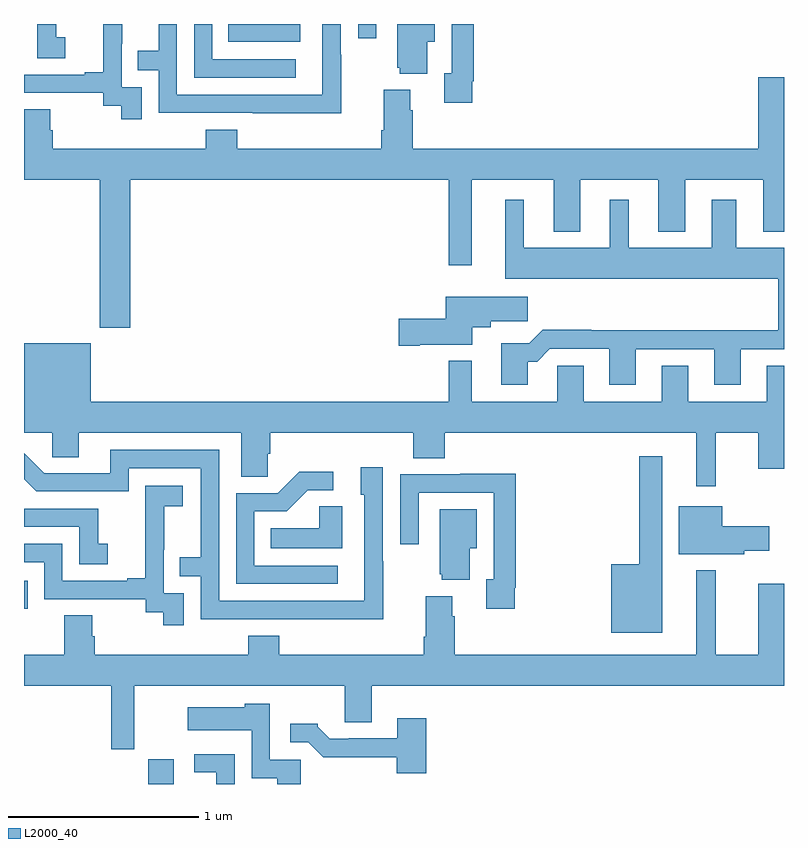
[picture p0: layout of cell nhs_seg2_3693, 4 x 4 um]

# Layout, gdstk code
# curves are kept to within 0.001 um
import gdstk
lib = gdstk.Library(unit=1e-6, precision=1e-09)
def R(c, l, rs):  # rectangles x0, y0, x1, y1
    for r in rs: c.add(gdstk.rectangle(r[:2], r[2:], *l))
def P(c, l, *ps):  # polygons
    for p in ps: c.add(gdstk.Polygon(p, *l))
L2000_40 = (2000, 40)

nhs_seg2_3693 = lib.new_cell('nhs_seg2_3693')
R(nhs_seg2_3693, L2000_40, [(305.654,633.8,305.788,633.931), (305,634.722,305.021,634.869), (306.076,637.706,306.454,637.8), (306.759,637.725,306.855,637.8)])
P(nhs_seg2_3693, L2000_40, [(307.123,637.706),(307.162,637.706),(307.162,637.8),(306.965,637.8),(306.965,637.569),(306.977,637.569),(306.977,637.538),(307.123,637.538)],
  [(307.36,637.498),(307.367,637.498),(307.367,637.8),(307.251,637.8),(307.251,637.542),(307.211,637.542),(307.211,637.386),(307.36,637.386)],
  [(306.43,637.614),(305.991,637.614),(305.991,637.8),(305.895,637.8),(305.895,637.518),(306.43,637.518)],
  [(305.619,637.467),(305.514,637.467),(305.514,637.697),(305.516,637.697),(305.516,637.8),(305.417,637.8),(305.417,637.546),(305.321,637.546),(305.321,637.533),(305,637.533),(305,637.437),(305.418,637.437),(305.418,637.369),(305.511,637.369),(305.511,637.299),(305.619,637.299)],
  [(305.218,637.729),(305.169,637.729),(305.169,637.8),(305.07,637.8),(305.07,637.62),(305.218,637.62)],
  [(306.669,637.637),(306.666,637.637),(306.666,637.8),(306.57,637.8),(306.57,637.428),(305.805,637.428),(305.805,637.8),(305.709,637.8),(305.709,637.658),(305.599,637.658),(305.599,637.557),(305.709,637.557),(305.709,637.332),(306.205,637.332),(306.205,637.331),(306.669,637.331)],
  [(305.558,636.98),(307.236,636.98),(307.236,636.531),(307.357,636.531),(307.357,636.98),(307.787,636.98),(307.787,636.707),(307.927,636.707),(307.927,636.98),(308.339,636.98),(308.339,636.707),(308.479,636.707),(308.479,636.98),(308.891,636.98),(308.891,636.707),(309,636.707),(309,637.519),(308.864,637.519),(308.864,637.144),(307.046,637.144),(307.046,637.346),(307.033,637.346),(307.033,637.453),(306.893,637.453),(306.893,637.24),(306.881,637.24),(306.881,637.144),(306.122,637.144),(306.122,637.243),(305.957,637.243),(305.957,637.144),(305.15,637.144),(305.15,637.242),(305.137,637.242),(305.137,637.352),(305,637.352),(305,636.98),(305.398,636.98),(305.398,636.201),(305.558,636.201)],
  [(307.651,636.023),(307.7,636.023),(307.767,636.09),(308.081,636.09),(308.081,635.901),(308.221,635.901),(308.221,636.087),(308.633,636.087),(308.633,635.901),(308.773,635.901),(308.773,636.087),(309,636.087),(309,636.622),(308.749,636.622),(308.749,636.874),(308.621,636.874),(308.621,636.622),(308.182,636.622),(308.182,636.874),(308.084,636.874),(308.084,636.622),(307.63,636.622),(307.63,636.874),(307.532,636.874),(307.532,636.458),(308.969,636.458),(308.969,636.188),(307.985,636.188),(307.985,636.191),(307.73,636.191),(307.66,636.121),(307.511,636.121),(307.511,635.901),(307.651,635.901)],
  [(307.084,636.113),(307.36,636.113),(307.36,636.203),(307.456,636.203),(307.456,636.235),(307.651,636.235),(307.651,636.364),(307.22,636.364),(307.22,636.248),(306.972,636.248),(306.972,636.106),(307.084,636.106)],
  [(308.641,635.648),(308.864,635.648),(308.864,635.46),(309,635.46),(309,636.002),(308.909,636.002),(308.909,635.812),(308.497,635.812),(308.497,636.002),(308.357,636.002),(308.357,635.812),(307.945,635.812),(307.945,636.002),(307.806,636.002),(307.806,635.812),(307.357,635.812),(307.357,636.028),(307.236,636.028),(307.236,635.812),(305.35,635.812),(305.35,636.121),(305,636.121),(305,635.648),(305.148,635.648),(305.148,635.521),(305.287,635.521),(305.287,635.648),(306.143,635.648),(306.143,635.416),(306.282,635.416),(306.282,635.539),(306.296,635.539),(306.296,635.648),(307.049,635.648),(307.049,635.515),(307.214,635.515),(307.214,635.648),(308.537,635.648),(308.537,635.367),(308.641,635.367)],
  [(306.891,634.973),(306.888,634.973),(306.888,635.467),(306.773,635.467),(306.773,635.322),(306.792,635.322),(306.792,634.764),(306.027,634.764),(306.027,635.559),(305.453,635.559),(305.453,635.436),(305.106,635.436),(305,635.542),(305,635.404),(305.064,635.34),(305.55,635.34),(305.55,635.463),(305.931,635.463),(305.931,634.994),(305.821,634.994),(305.821,634.893),(305.931,634.893),(305.931,634.668),(306.891,634.667)],
  [(308.359,635.524),(308.238,635.524),(308.238,634.957),(308.09,634.957),(308.09,634.595),(308.359,634.595)],
  [(306.652,634.95),(306.213,634.95),(306.213,635.235),(306.382,635.235),(306.493,635.346),(306.628,635.346),(306.628,635.444),(306.449,635.444),(306.336,635.331),(306.117,635.331),(306.117,634.854),(306.652,634.854)],
  [(307.582,634.834),(307.589,634.834),(307.589,635.432),(307.297,635.432),(307.297,635.43),(306.981,635.43),(306.981,635.061),(307.077,635.061),(307.077,635.334),(307.473,635.334),(307.473,634.878),(307.433,634.878),(307.433,634.722),(307.582,634.722)],
  [(305.841,634.803),(305.736,634.803),(305.736,635.033),(305.738,635.033),(305.738,635.261),(305.836,635.261),(305.836,635.371),(305.638,635.371),(305.638,635.165),(305.639,635.165),(305.639,634.882),(305.543,634.882),(305.543,634.869),(305.202,634.869),(305.202,635.064),(305,635.064),(305,634.968),(305.106,634.968),(305.106,634.773),(305.64,634.773),(305.64,634.705),(305.733,634.705),(305.733,634.635),(305.841,634.635)],
  [(308.79,635.027),(308.923,635.027),(308.923,635.157),(308.674,635.157),(308.674,635.263),(308.447,635.263),(308.447,635.009),(308.79,635.009)],
  [(306.676,635.261),(306.555,635.261),(306.555,635.146),(306.298,635.146),(306.298,635.042),(306.676,635.042)],
  [(305.44,635.065),(305.391,635.065),(305.391,635.25),(305,635.25),(305,635.154),(305.292,635.154),(305.292,634.956),(305.44,634.956)],
  [(307.345,635.042),(307.384,635.042),(307.384,635.245),(307.187,635.245),(307.187,634.905),(307.199,634.905),(307.199,634.874),(307.345,634.874)],
  [(305.579,634.316),(306.689,634.316),(306.689,634.126),(306.829,634.126),(306.829,634.316),(309,634.316),(309,634.855),(308.864,634.855),(308.864,634.48),(308.641,634.48),(308.641,634.924),(308.537,634.924),(308.537,634.48),(307.268,634.48),(307.268,634.682),(307.255,634.682),(307.255,634.789),(307.115,634.789),(307.115,634.576),(307.103,634.576),(307.103,634.48),(306.344,634.48),(306.344,634.579),(306.179,634.579),(306.179,634.48),(305.372,634.48),(305.372,634.578),(305.359,634.578),(305.359,634.688),(305.212,634.688),(305.212,634.48),(305,634.48),(305,634.316),(305.458,634.316),(305.458,633.984),(305.579,633.984)],
  [(306.457,633.927),(306.294,633.927),(306.294,634.222),(306.162,634.222),(306.162,634.204),(305.862,634.204),(305.862,634.082),(306.198,634.082),(306.198,633.83),(306.332,633.83),(306.332,633.8),(306.457,633.8)],
  [(307.118,634.147),(306.965,634.147),(306.965,634.041),(306.709,634.041),(306.709,634.038),(306.61,634.038),(306.546,634.102),(306.546,634.117),(306.402,634.117),(306.402,634.02),(306.495,634.02),(306.574,633.942),(306.963,633.942),(306.963,633.857),(307.118,633.857)],
  [(306.108,633.957),(305.895,633.957),(305.895,633.861),(306.012,633.861),(306.012,633.8),(306.108,633.8)])

lib.write_gds('nhs_seg2_3693.gds')
